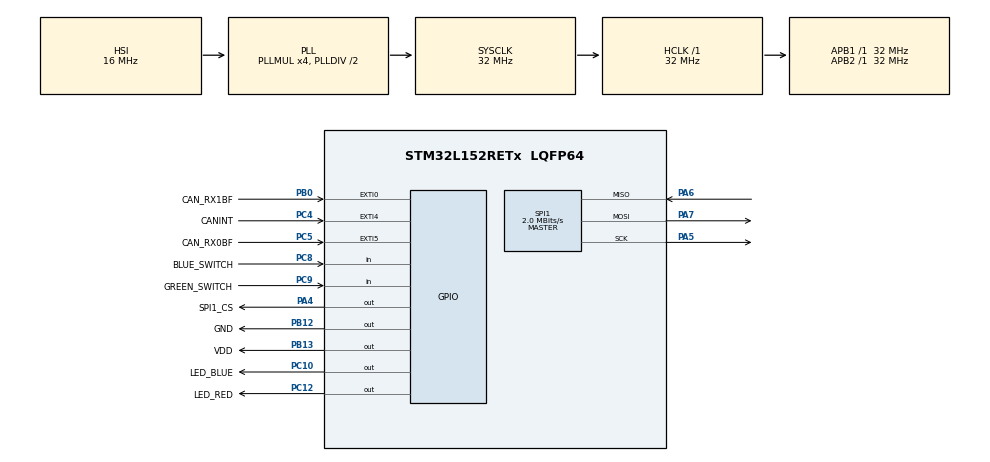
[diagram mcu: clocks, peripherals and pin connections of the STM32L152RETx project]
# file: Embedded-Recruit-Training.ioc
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FREERTOS.Mutexes01=SPIMutex,Dynamic,NULL
FREERTOS.Tasks01=defaultTask,24,128,StartDefaultTask,Default,NULL,Dynamic,NULL,NULL
FREERTOS.configUSE_NEWLIB_REENTRANT=1
Mcu.Family=STM32L1
Mcu.Name=STM32L152RETx
Mcu.Package=LQFP64
NVIC.EXTI9_5_IRQn=true\:5\:0\:false\:false\:true\:true\:true\:true\:true
NVIC.PriorityGroup=NVIC_PRIORITYGROUP_4
NVIC.TIM2_IRQn=true\:15\:0\:false\:false\:true\:false\:false\:true\:true
NVIC.TimeBase=TIM2_IRQn
NVIC.TimeBaseIP=TIM2
PA13.Mode=Trace_Asynchronous_SW
PA13.Signal=SYS_JTMS-SWDIO
PA14.Mode=Trace_Asynchronous_SW
PA14.Signal=SYS_JTCK-SWCLK
PA4.GPIO_Label=SPI1_CS
PA4.PinState=GPIO_PIN_SET
PA4.Signal=GPIO_Output
PA5.Mode=Full_Duplex_Master
PA5.Signal=SPI1_SCK
PA6.Mode=Full_Duplex_Master
PA6.Signal=SPI1_MISO
PA7.Mode=Full_Duplex_Master
PA7.Signal=SPI1_MOSI
PB0.GPIO_Label=CAN_RX1BF
PB0.GPIO_ModeDefaultEXTI=GPIO_MODE_IT_FALLING
PB0.Signal=GPXTI0
PB12.GPIO_Label=GND
PB12.PinState=GPIO_PIN_RESET
PB12.Signal=GPIO_Output
PB13.GPIO_Label=VDD
PB13.PinState=GPIO_PIN_SET
PB13.Signal=GPIO_Output
PB3.Mode=Trace_Asynchronous_SW
PB3.Signal=SYS_JTDO-TRACESWO
PC10.GPIO_Label=LED_BLUE
PC10.Signal=GPIO_Output
PC12.GPIO_Label=LED_RED
PC12.Signal=GPIO_Output
PC4.GPIO_Label=CANINT
PC4.GPIO_ModeDefaultEXTI=GPIO_MODE_IT_FALLING
PC4.Signal=GPXTI4
PC5.GPIO_Label=CAN_RX0BF
PC5.GPIO_ModeDefaultEXTI=GPIO_MODE_IT_FALLING
PC5.Signal=GPXTI5
PC8.GPIO_Label=BLUE_SWITCH
PC8.Signal=GPIO_Input
PC9.GPIO_Label=GREEN_SWITCH
PC9.Signal=GPIO_Input
ProjectManager.HeapSize=0x200
ProjectManager.StackSize=0x400
ProjectManager.TargetToolchain=STM32CubeIDE
RCC.48MHZClocksFreq_Value=32000000
RCC.AHBFreq_Value=32000000
RCC.APB1Freq_Value=32000000
RCC.APB1TimFreq_Value=32000000
RCC.APB2Freq_Value=32000000
RCC.APB2TimFreq_Value=32000000
RCC.HCLKFreq_Value=32000000
RCC.HSE_VALUE=24000000
RCC.HSI_VALUE=16000000
RCC.LSE_VALUE=32768
RCC.MSI_VALUE=2097000
RCC.PLLMUL=RCC_PLL_MUL4
RCC.SYSCLKFreq_VALUE=32000000
RCC.SYSCLKSource=RCC_SYSCLKSOURCE_PLLCLK
RCC.VCOOutputFreq_Value=64000000
SPI1.BaudRatePrescaler=SPI_BAUDRATEPRESCALER_16
SPI1.CLKPhase=SPI_PHASE_2EDGE
SPI1.CLKPolarity=SPI_POLARITY_HIGH
SPI1.CalculateBaudRate=2.0 MBits/s
SPI1.Direction=SPI_DIRECTION_2LINES
SPI1.Mode=SPI_MODE_MASTER
SPI1.VirtualType=VM_MASTER
VP_FREERTOS_VS_CMSIS_V2.Mode=CMSIS_V2
VP_SYS_VS_tim2.Mode=TIM2
board=custom

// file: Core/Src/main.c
/* USER CODE BEGIN Header */
/**
  ******************************************************************************
  * @file           : main.c
  * @brief          : Main program body
  ******************************************************************************
  * @attention
  *
  * Copyright (c) 2022 STMicroelectronics.
  * All rights reserved.
  *
  * This software is licensed under terms that can be found in the LICENSE file
  * in the root directory of this software component.
  * If no LICENSE file comes with this software, it is provided AS-IS.
  *
  ******************************************************************************
  */
/* USER CODE END Header */
#include "main.h"
#include "cmsis_os.h"

/* USER CODE BEGIN Includes */
#include "CAN.h"
#include "BlueSwitchTask.h"
#include "GreenSwitchTask.h"
#include "RedSwitchTask.h"
/* USER CODE END Includes */

/* USER CODE BEGIN PD */
#define CAN_INTERRUPT_QUEUE_COUNT 3 // anticipate 2 sudden messages + 1 for extra room
/* USER CODE END PD */

SPI_HandleTypeDef hspi1;

/* Definitions for defaultTask */
osThreadId_t defaultTaskHandle;
const osThreadAttr_t defaultTask_attributes = {
  .name = "defaultTask",
  .stack_size = 128 * 4,
  .priority = (osPriority_t) osPriorityNormal,
};
/* Definitions for redSwitchTask */
osThreadId_t redTaskHandle;
const osThreadAttr_t redTask_attributes = {
  .name = "redTask",
  .stack_size = 128 * 4,
  .priority = (osPriority_t) osPriorityNormal,
};

/* Definitions for SPIMutex */
osMutexId_t SPIMutexHandle;
const osMutexAttr_t SPIMutex_attributes = {
  .name = "SPIMutex"
};
/* USER CODE BEGIN PV */

uint8_t blueStatus;
uint8_t greenStatus;
uint8_t redStatus;

/* Definitions for defaultTask */
osThreadId_t blueSwitchTaskHandle;
const osThreadAttr_t blueSwitchTask_attributes = {
  .name = "defaultTask",
  .stack_size = 128 * 4,
  .priority = (osPriority_t) osPriorityNormal,
};

osMessageQueueId_t CANInterruptQueue;

/* USER CODE END PV */

void SystemClock_Config(void);
static void MX_GPIO_Init(void);
static void MX_SPI1_Init(void);
void StartDefaultTask(void *argument);

int main(void)
{

  /* MCU Configuration--------------------------------------------------------*/

  /* Reset of all peripherals, Initializes the Flash interface and the Systick. */
  HAL_Init();

  /* Configure the system clock */
  SystemClock_Config();

  /* Initialize all configured peripherals */
  MX_GPIO_Init();
  MX_SPI1_Init();
  /* USER CODE BEGIN 2 */
  ConfigureCANSPI();
  //HAL_SPI_Receive_IT(&hspi2, buffer, 1);
  /* USER CODE END 2 */

  /* Init scheduler */
  osKernelInitialize();
  /* Create the mutex(es) */
  /* creation of SPIMutex */
  SPIMutexHandle = osMutexNew(&SPIMutex_attributes);

  /* USER CODE BEGIN RTOS_QUEUES */
  CANInterruptQueue = osMessageQueueNew(CAN_INTERRUPT_QUEUE_COUNT, sizeof(uint16_t), NULL);
  /* USER CODE END RTOS_QUEUES */

  /* Create the thread(s) */
  /* creation of defaultTask */
  defaultTaskHandle = osThreadNew(StartDefaultTask, NULL, &defaultTask_attributes);

  /* USER CODE BEGIN RTOS_THREADS */
  /* creation of redTask*/
  redTaskHandle = osThreadNew((osThreadFunc_t)redSwitchTask, NULL, &redTask_attributes);

  blueSwitchTaskHandle = osThreadNew((osThreadFunc_t)blueSwitchTask, NULL, &blueSwitchTask_attributes);
  /* USER CODE END RTOS_THREADS */

  /* Start scheduler */
  osKernelStart();

  /* We should never get here as control is now taken by the scheduler */
  /* Infinite loop */
  while (1)
  {

  }
}

void SystemClock_Config(void)
{
  RCC_OscInitTypeDef RCC_OscInitStruct = {0};
  RCC_ClkInitTypeDef RCC_ClkInitStruct = {0};

  /** Configure the main internal regulator output voltage
  */
  __HAL_PWR_VOLTAGESCALING_CONFIG(PWR_REGULATOR_VOLTAGE_SCALE1);

  /** Initializes the RCC Oscillators according to the specified parameters
  * in the RCC_OscInitTypeDef structure.
  */
  RCC_OscInitStruct.OscillatorType = RCC_OSCILLATORTYPE_HSI;
  RCC_OscInitStruct.HSIState = RCC_HSI_ON;
  RCC_OscInitStruct.HSICalibrationValue = RCC_HSICALIBRATION_DEFAULT;
  RCC_OscInitStruct.PLL.PLLState = RCC_PLL_ON;
  RCC_OscInitStruct.PLL.PLLSource = RCC_PLLSOURCE_HSI;
  RCC_OscInitStruct.PLL.PLLMUL = RCC_PLL_MUL4;
  RCC_OscInitStruct.PLL.PLLDIV = RCC_PLL_DIV2;
  if (HAL_RCC_OscConfig(&RCC_OscInitStruct) != HAL_OK)
  {
    Error_Handler();
  }

  /** Initializes the CPU, AHB and APB buses clocks
  */
  RCC_ClkInitStruct.ClockType = RCC_CLOCKTYPE_HCLK|RCC_CLOCKTYPE_SYSCLK
                              |RCC_CLOCKTYPE_PCLK1|RCC_CLOCKTYPE_PCLK2;
  RCC_ClkInitStruct.SYSCLKSource = RCC_SYSCLKSOURCE_PLLCLK;
  RCC_ClkInitStruct.AHBCLKDivider = RCC_SYSCLK_DIV1;
  RCC_ClkInitStruct.APB1CLKDivider = RCC_HCLK_DIV1;
  RCC_ClkInitStruct.APB2CLKDivider = RCC_HCLK_DIV1;

  if (HAL_RCC_ClockConfig(&RCC_ClkInitStruct, FLASH_LATENCY_1) != HAL_OK)
  {
    Error_Handler();
  }
}

static void MX_SPI1_Init(void)
{

  /* SPI1 parameter configuration*/
  hspi1.Instance = SPI1;
  hspi1.Init.Mode = SPI_MODE_MASTER;
  hspi1.Init.Direction = SPI_DIRECTION_2LINES;
  hspi1.Init.DataSize = SPI_DATASIZE_8BIT;
  hspi1.Init.CLKPolarity = SPI_POLARITY_HIGH;
  hspi1.Init.CLKPhase = SPI_PHASE_2EDGE;
  hspi1.Init.NSS = SPI_NSS_SOFT;
  hspi1.Init.BaudRatePrescaler = SPI_BAUDRATEPRESCALER_16;
  hspi1.Init.FirstBit = SPI_FIRSTBIT_MSB;
  hspi1.Init.TIMode = SPI_TIMODE_DISABLE;
  hspi1.Init.CRCCalculation = SPI_CRCCALCULATION_DISABLE;
  hspi1.Init.CRCPolynomial = 10;
  if (HAL_SPI_Init(&hspi1) != HAL_OK)
  {
    Error_Handler();
  }

}

static void MX_GPIO_Init(void)
{
  GPIO_InitTypeDef GPIO_InitStruct = {0};

  /* GPIO Ports Clock Enable */
  __HAL_RCC_GPIOA_CLK_ENABLE();
  __HAL_RCC_GPIOC_CLK_ENABLE();
  __HAL_RCC_GPIOB_CLK_ENABLE();

  /*Configure GPIO pin Output Level */
  HAL_GPIO_WritePin(SPI1_CS_GPIO_Port, SPI1_CS_Pin, GPIO_PIN_SET);

  /*Configure GPIO pin Output Level */
  HAL_GPIO_WritePin(GND_GPIO_Port, GND_Pin, GPIO_PIN_RESET);

  /*Configure GPIO pin Output Level */
  HAL_GPIO_WritePin(VDD_GPIO_Port, VDD_Pin, GPIO_PIN_SET);

  /*Configure GPIO pin Output Level */
  HAL_GPIO_WritePin(GPIOC, LED_BLUE_Pin|LED_RED_Pin, GPIO_PIN_RESET);

  /*Configure GPIO pin : SPI1_CS_Pin */
  GPIO_InitStruct.Pin = SPI1_CS_Pin;
  GPIO_InitStruct.Mode = GPIO_MODE_OUTPUT_PP;
  GPIO_InitStruct.Pull = GPIO_NOPULL;
  GPIO_InitStruct.Speed = GPIO_SPEED_FREQ_LOW;
  HAL_GPIO_Init(SPI1_CS_GPIO_Port, &GPIO_InitStruct);

  /*Configure GPIO pins : CANINT_Pin CAN_RX0BF_Pin */
  GPIO_InitStruct.Pin = CANINT_Pin|CAN_RX0BF_Pin;
  GPIO_InitStruct.Mode = GPIO_MODE_IT_FALLING;
  GPIO_InitStruct.Pull = GPIO_NOPULL;
  HAL_GPIO_Init(GPIOC, &GPIO_InitStruct);

  /*Configure GPIO pin : CAN_RX1BF_Pin */
  GPIO_InitStruct.Pin = CAN_RX1BF_Pin;
  GPIO_InitStruct.Mode = GPIO_MODE_IT_FALLING;
  GPIO_InitStruct.Pull = GPIO_NOPULL;
  HAL_GPIO_Init(CAN_RX1BF_GPIO_Port, &GPIO_InitStruct);

  /*Configure GPIO pins : GND_Pin VDD_Pin */
  GPIO_InitStruct.Pin = GND_Pin|VDD_Pin;
  GPIO_InitStruct.Mode = GPIO_MODE_OUTPUT_PP;
  GPIO_InitStruct.Pull = GPIO_NOPULL;
  GPIO_InitStruct.Speed = GPIO_SPEED_FREQ_LOW;
  HAL_GPIO_Init(GPIOB, &GPIO_InitStruct);

  /*Configure GPIO pins : BLUE_SWITCH_Pin GREEN_SWITCH_Pin */
  GPIO_InitStruct.Pin = BLUE_SWITCH_Pin|GREEN_SWITCH_Pin;
  GPIO_InitStruct.Mode = GPIO_MODE_INPUT;
  GPIO_InitStruct.Pull = GPIO_NOPULL;
  HAL_GPIO_Init(GPIOC, &GPIO_InitStruct);

  /*Configure GPIO pins : LED_BLUE_Pin LED_RED_Pin */
  GPIO_InitStruct.Pin = LED_BLUE_Pin|LED_RED_Pin;
  GPIO_InitStruct.Mode = GPIO_MODE_OUTPUT_PP;
  GPIO_InitStruct.Pull = GPIO_NOPULL;
  GPIO_InitStruct.Speed = GPIO_SPEED_FREQ_LOW;
  HAL_GPIO_Init(GPIOC, &GPIO_InitStruct);

  /* EXTI interrupt init*/
  HAL_NVIC_SetPriority(EXTI9_5_IRQn, 5, 0);
  HAL_NVIC_EnableIRQ(EXTI9_5_IRQn);

}

/* USER CODE BEGIN 4 */

void HAL_GPIO_EXTI_Callback(uint16_t GPIO_Pin)
{
	osMessageQueuePut(CANInterruptQueue, &GPIO_Pin, 0, TASK_QUEUE_TIMEOUT);
}
/* USER CODE END 4 */

void StartDefaultTask(void *argument)
{
  /* USER CODE BEGIN 5 */
  while(1){
    if(blueStatus) {
      HAL_GPIO_TogglePin(LED_BLUE_GPIO_Port, LED_BLUE_Pin);
      blueStatus = 0;
    }
  }
  /* USER CODE END 5 */
}

void HAL_TIM_PeriodElapsedCallback(TIM_HandleTypeDef *htim)
{
  if (htim->Instance == TIM2) {
    HAL_IncTick();
  }
}

void Error_Handler(void)
{
  __disable_irq();
  while (1)
  {
  }
}

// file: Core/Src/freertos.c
/* USER CODE BEGIN Header */
/**
  ******************************************************************************
  * File Name          : freertos.c
  * Description        : Code for freertos applications
  ******************************************************************************
  * @attention
  *
  * <h2><center>&copy; Copyright (c) 2019 STMicroelectronics.
  * All rights reserved.</center></h2>
  *
  * This software component is licensed by ST under Ultimate Liberty license
  * SLA0044, the "License"; You may not use this file except in compliance with
  * the License. You may obtain a copy of the License at:
  *                             www.st.com/SLA0044
  *
  ******************************************************************************
  */
/* USER CODE END Header */

#include "FreeRTOS.h"
#include "task.h"
#include "main.h"

/* GetIdleTaskMemory prototype (linked to static allocation support) */
void vApplicationGetIdleTaskMemory( StaticTask_t **ppxIdleTaskTCBBuffer, StackType_t **ppxIdleTaskStackBuffer, uint32_t *pulIdleTaskStackSize );

/* USER CODE BEGIN GET_IDLE_TASK_MEMORY */
static StaticTask_t xIdleTaskTCBBuffer;
static StackType_t xIdleStack[configMINIMAL_STACK_SIZE];

void vApplicationGetIdleTaskMemory( StaticTask_t **ppxIdleTaskTCBBuffer, StackType_t **ppxIdleTaskStackBuffer, uint32_t *pulIdleTaskStackSize )
{
  *ppxIdleTaskTCBBuffer = &xIdleTaskTCBBuffer;
  *ppxIdleTaskStackBuffer = &xIdleStack[0];
  *pulIdleTaskStackSize = configMINIMAL_STACK_SIZE;
  /* place for user code */
}
/* USER CODE END GET_IDLE_TASK_MEMORY */

/************************ (C) COPYRIGHT STMicroelectronics *****END OF FILE****/
